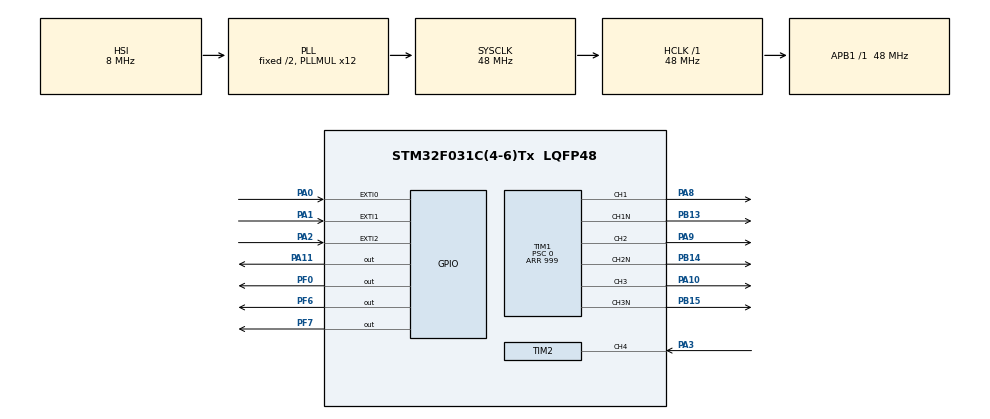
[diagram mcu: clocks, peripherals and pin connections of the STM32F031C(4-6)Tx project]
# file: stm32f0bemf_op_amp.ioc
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ADC.DMAContinuousRequests=ENABLE
ADC.DiscontinuousConvMode=ENABLE
ADC.EOCSelection=ADC_EOC_SEQ_CONV
ADC.ExternalTrigConv=ADC_EXTERNALTRIGCONV_T1_CC4
ADC.SamplingTime=ADC_SAMPLETIME_239CYCLES_5
Dma.ADC.0.Direction=DMA_PERIPH_TO_MEMORY
Dma.ADC.0.Instance=DMA1_Channel1
Dma.ADC.0.MemDataAlignment=DMA_MDATAALIGN_HALFWORD
Dma.ADC.0.MemInc=DMA_MINC_ENABLE
Dma.ADC.0.Mode=DMA_CIRCULAR
Dma.ADC.0.PeriphDataAlignment=DMA_PDATAALIGN_HALFWORD
Dma.ADC.0.PeriphInc=DMA_PINC_DISABLE
Dma.ADC.0.Priority=DMA_PRIORITY_LOW
Dma.Request0=ADC
Dma.Request1=TIM2_CH4
Dma.TIM2_CH4.1.Direction=DMA_PERIPH_TO_MEMORY
Dma.TIM2_CH4.1.Instance=DMA1_Channel4
Dma.TIM2_CH4.1.MemDataAlignment=DMA_MDATAALIGN_WORD
Dma.TIM2_CH4.1.MemInc=DMA_MINC_ENABLE
Dma.TIM2_CH4.1.Mode=DMA_NORMAL
Dma.TIM2_CH4.1.PeriphDataAlignment=DMA_PDATAALIGN_HALFWORD
Dma.TIM2_CH4.1.PeriphInc=DMA_PINC_DISABLE
Dma.TIM2_CH4.1.Priority=DMA_PRIORITY_MEDIUM
IWDG.Reload=4095
IWDG.Window=4095
Mcu.Family=STM32F0
Mcu.Name=STM32F031C(4-6)Tx
Mcu.Package=LQFP48
NVIC.DMA1_Channel1_IRQn=true\:1\:0\:true\:false\:true\:false
NVIC.DMA1_Channel4_5_IRQn=true\:1\:0\:true\:false\:true\:false
NVIC.EXTI0_1_IRQn=true\:0\:0\:false\:false\:true\:true
NVIC.EXTI2_3_IRQn=true\:0\:0\:false\:false\:true\:true
NVIC.TIM14_IRQn=true\:1\:0\:true\:false\:true\:true
NVIC.TIM2_IRQn=true\:1\:0\:true\:false\:true\:true
PA0.GPIO_ModeDefaultEXTI=GPIO_MODE_IT_RISING_FALLING
PA0.Signal=GPXTI0
PA1.GPIO_ModeDefaultEXTI=GPIO_MODE_IT_RISING_FALLING
PA1.Signal=GPXTI1
PA10.Signal=S_TIM1_CH3
PA11.Signal=GPIO_Output
PA13.Mode=Serial_Wire
PA13.Signal=SYS_SWDIO
PA14.Mode=Serial_Wire
PA14.Signal=SYS_SWCLK
PA2.GPIO_ModeDefaultEXTI=GPIO_MODE_IT_RISING_FALLING
PA2.Signal=GPXTI2
PA3.Signal=S_TIM2_CH4
PA8.Signal=S_TIM1_CH1
PA9.GPIO_FMA9=__NULL
PA9.Signal=S_TIM1_CH2
PB13.Mode=PWM Generation1 CH1 CH1N
PB13.Signal=TIM1_CH1N
PB14.Mode=PWM Generation2 CH2 CH2N
PB14.Signal=TIM1_CH2N
PB15.Mode=PWM Generation3 CH3 CH3N
PB15.Signal=TIM1_CH3N
PF0-OSC_IN.Signal=GPIO_Output
PF6.Signal=GPIO_Output
PF7.Signal=GPIO_Output
ProjectManager.HeapSize=0x200
ProjectManager.StackSize=0x400
ProjectManager.TargetToolchain=TrueSTUDIO
RCC.AHBFreq_Value=48000000
RCC.APB1Freq_Value=48000000
RCC.APB1TimFreq_Value=48000000
RCC.HCLKFreq_Value=48000000
RCC.PLLMUL=RCC_PLL_MUL12
RCC.SYSCLKFreq_VALUE=48000000
RCC.SYSCLKSource=RCC_SYSCLKSOURCE_PLLCLK
SH.S_TIM1_CH1.0=TIM1_CH1,PWM Generation1 CH1 CH1N
SH.S_TIM1_CH2.0=TIM1_CH2,PWM Generation2 CH2 CH2N
SH.S_TIM1_CH3.0=TIM1_CH3,PWM Generation3 CH3 CH3N
SH.S_TIM2_CH4.0=TIM2_CH4,Input_Capture4_from_TI4
TIM1.AutomaticOutput=TIM_AUTOMATICOUTPUT_DISABLE
TIM1.Channel-PWM\ Generation1\ CH1\ CH1N=TIM_CHANNEL_1
TIM1.Channel-PWM\ Generation2\ CH2\ CH2N=TIM_CHANNEL_2
TIM1.Channel-PWM\ Generation3\ CH3\ CH3N=TIM_CHANNEL_3
TIM1.Channel-PWM\ Generation4\ No\ Output=TIM_CHANNEL_4
TIM1.CounterMode=TIM_COUNTERMODE_UP
TIM1.DeadTime=40
TIM1.OCPolarity_1=TIM_OCPOLARITY_HIGH
TIM1.Period=999
TIM1.Prescaler=0
TIM14.Period=50000
TIM14.Prescaler=1
TIM2.Channel-Input_Capture4_from_TI4=TIM_CHANNEL_4
TIM2.ICPolarity_CH4=TIM_INPUTCHANNELPOLARITY_BOTHEDGE
TIM2.Period=65535
TIM2.Prescaler=0
TIM2.TIM_MasterOutputTrigger=TIM_TRGO_RESET
TIM2.TIM_MasterSlaveMode=TIM_MASTERSLAVEMODE_DISABLE
TIM3.Period=65535
TIM3.Prescaler=10
VP_ADC_TempSens_Input.Mode=IN-TempSens
VP_IWDG_VS_IWDG.Mode=IWDG_Activate
VP_TIM14_VS_ClockSourceINT.Mode=Enable_Timer
VP_TIM1_VS_ClockSourceINT.Mode=Internal
VP_TIM1_VS_no_output4.Mode=PWM Generation4 No Output
VP_TIM2_VS_ClockSourceINT.Mode=Internal
VP_TIM3_VS_ClockSourceINT.Mode=Internal
board=stm32f0bemf_op_amp

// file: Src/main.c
/**
  ******************************************************************************
  * File Name          : main.c
  * Description        : Main program body
  ******************************************************************************
  ** This notice applies to any and all portions of this file
  * that are not between comment pairs USER CODE BEGIN and
  * USER CODE END. Other portions of this file, whether
  * inserted by the user or by software development tools
  * are owned by their respective copyright owners.
  *
  * COPYRIGHT(c) 2019 STMicroelectronics
  *
  * Redistribution and use in source and binary forms, with or without modification,
  * are permitted provided that the following conditions are met:
  *   1. Redistributions of source code must retain the above copyright notice,
  *      this list of conditions and the following disclaimer.
  *   2. Redistributions in binary form must reproduce the above copyright notice,
  *      this list of conditions and the following disclaimer in the documentation
  *      and/or other materials provided with the distribution.
  *   3. Neither the name of STMicroelectronics nor the names of its contributors
  *      may be used to endorse or promote products derived from this software
  *      without specific prior written permission.
  *
  * THIS SOFTWARE IS PROVIDED BY THE COPYRIGHT HOLDERS AND CONTRIBUTORS "AS IS"
  * AND ANY EXPRESS OR IMPLIED WARRANTIES, INCLUDING, BUT NOT LIMITED TO, THE
  * IMPLIED WARRANTIES OF MERCHANTABILITY AND FITNESS FOR A PARTICULAR PURPOSE ARE
  * DISCLAIMED. IN NO EVENT SHALL THE COPYRIGHT HOLDER OR CONTRIBUTORS BE LIABLE
  * FOR ANY DIRECT, INDIRECT, INCIDENTAL, SPECIAL, EXEMPLARY, OR CONSEQUENTIAL
  * DAMAGES (INCLUDING, BUT NOT LIMITED TO, PROCUREMENT OF SUBSTITUTE GOODS OR
  * SERVICES; LOSS OF USE, DATA, OR PROFITS; OR BUSINESS INTERRUPTION) HOWEVER
  * CAUSED AND ON ANY THEORY OF LIABILITY, WHETHER IN CONTRACT, STRICT LIABILITY,
  * OR TORT (INCLUDING NEGLIGENCE OR OTHERWISE) ARISING IN ANY WAY OUT OF THE USE
  * OF THIS SOFTWARE, EVEN IF ADVISED OF THE POSSIBILITY OF SUCH DAMAGE.
  *
  ******************************************************************************
  */

#include "main.h"
#include "stm32f0xx_hal.h"

/* USER CODE BEGIN Includes */
#include "tune.h"

/* USER CODE END Includes */

ADC_HandleTypeDef hadc;
DMA_HandleTypeDef hdma_adc;

IWDG_HandleTypeDef hiwdg;

TIM_HandleTypeDef htim1;
TIM_HandleTypeDef htim2;
TIM_HandleTypeDef htim3;
TIM_HandleTypeDef htim14;
DMA_HandleTypeDef hdma_tim2_ch4;

/* USER CODE BEGIN PV */
char bi_direction = 0;
char coasting = 0;

int stop_time = 0;

int current_state= 0;
uint16_t Current_GPIO_Pin;

int filter_level_up = 4;
int filter_level_down = 4;

#define TEMP30_CAL_VALUE            ((uint16_t*)((uint32_t)0x1FFFF7B8))
#define TEMP110_CAL_VALUE           ((uint16_t*)((uint32_t)0x1FFFF7C2))

int temp110cal;
int temp30cal;
int smoothedinput = 0;

const int numReadings = 100;     // the readings from the analog input
int readIndex = 0;              // the index of the current reading
int total = 0;
int readings[100];
int tempraw = 0;
int temp_degrees = 0;

int max_change;
int offset;

int ticks = 0;
int filter_level = 5;
int toggled = 0;
int running = 0;
int advance = 0;
int advancedivisor = 3;
int blanktime;
int START_ARR=800;
int rising = 1;
int count = 0;
				      // start middle phase 5
const int pwmSin[] = {128, 132, 136, 140, 143, 147, 151, 155, 159, 162, 166, 170, 174, 178, 181, 185, 189, 192, 196, 200, 203, 207, 211, 214, 218, 221, 225, 228, 232, 235, 238, 239, 240, 241, 242, 243, 244, 245, 246, 247, 248, 248, 249, 250, 250, 251, 252, 252, 253, 253, 253, 254, 254, 254, 255, 255, 255, 255, 255, 255, 255, 255, 255, 255, 255, 255, 255, 254, 254, 254, 253, 253, 253, 252, 252, 251, 250, 250, 249, 248, 248, 247, 246, 245, 244, 243, 242, 241, 240, 239, 238, 239, 240, 241, 242, 243, 244, 245, 246, 247, 248, 248, 249, 250, 250, 251, 252, 252, 253, 253, 253, 254, 254, 254, 255, 255, 255, 255, 255, 255, 255, 255, 255, 255, 255, 255, 255, 254, 254, 254, 253, 253, 253, 252, 252, 251, 250, 250, 249, 248, 248, 247, 246, 245, 244, 243, 242, 241, 240, 239, 238, 235, 232, 228, 225, 221, 218, 214, 211, 207, 203, 200, 196, 192, 189, 185, 181, 178, 174, 170, 166, 162, 159, 155, 151, 147, 143, 140, 136, 132, 128, 124, 120, 116, 113, 109, 105, 101, 97, 94, 90, 86, 82, 78, 75, 71, 67, 64, 60, 56, 53, 49, 45, 42, 38, 35, 31, 28, 24, 21, 18, 17, 16, 15, 14, 13, 12, 11, 10, 9, 8, 8, 7, 6, 6, 5, 4, 4, 3, 3, 3, 2, 2, 2, 1, 1, 1, 1, 1, 1, 1, 1, 1, 1, 1, 1, 1, 2, 2, 2, 3, 3, 3, 4, 4, 5, 6, 6, 7, 8, 8, 9, 10, 11, 12, 13, 14, 15, 16, 17, 18, 17, 16, 15, 14, 13, 12, 11, 10, 9, 8, 8, 7, 6, 6, 5, 4, 4, 3, 3, 3, 2, 2, 2, 1, 1, 1, 1, 1, 1, 1, 1, 1, 1, 1, 1, 1, 2, 2, 2, 3, 3, 3, 4, 4, 5, 6, 6, 7, 8, 8, 9, 10, 11, 12, 13, 14, 15, 16, 17, 18, 21, 24, 28, 31, 35, 38, 42, 45, 49, 53, 56, 60, 64, 67, 71, 75, 78, 82, 86, 90, 94, 97, 101, 105, 109, 113, 116, 120, 124};
int sin_divider = 2;
int phase_A_position;
int phase_B_position;
int phase_C_position;
int step_delay  = 100;
char stepper_sine = 0;
int forward = 1;
int gate_drive_offset = 20;

int stuckcounter = 0;
int duty_cycle_limit;

int looptime;
int k_erpm;

char reversed_direction = 0;

int threshold_up = 20;
int threshold_down = 20;

int ADCtimer= 30;
int demagtime = 50;

int whatstepisthis = 0 ;       // for debugging
int myneutral = 1300; // for debugging
int myneutralup = 1500;

int input_buffer_size = 64;
int smallestnumber = 20000;
uint32_t dma_buffer[64];
int propulse[4] = {0,0,0,0};
int dpulse[16] =  {0,0,0,0,0,0,0,0,0,0,0,0,0,0,0,0};

int calcCRC;
int checkCRC;
int dshotcommand;

char armed = 0;
int zero_input_count = 0;

int input = 0;
int newinput =0;
char inputSet = 0;
char dshot = 0;
char proshot = 0;
char multishot = 0;
char oneshot42 = 0;
char oneshot125 = 0;
char servoPwm = 0;
int zero_crosses;

int integral = 0;
int threshold = 850;
int zcfound = 0;
int difference;
int bemfcounter;
int min_bemf_counts_up = 10;
int min_bemf_counts_down = 10;
int zcs = 0;

int adc_timer = 600;
int ROC = 1;

int lastzctime;
uint16_t thiszctime;
int upthiszctime;
int uplastzctime;
int wait_time;

int min_startup_duty = 100;

int phase = 1;

int tim2_start_arr= 616;

uint32_t last_adc_channel;

int duty_cycle= 33;   // USE EXTREME CAUTION WHEN TESTING
uint32_t ADC1ConvertedValues[1] = {0};
int bemf_rising = 1;

int step = 1;
int pot = 1000;

uint16_t commutation_interval = 30000;
int pwm = 1;
int floating =2;
int lowside = 3;
int zero_cross_offset_up= 1;  //  up and down offset adc read
int zero_cross_offset_down= 30;
int sensorless = 1;
int waitTime = 0;
int threshhold = 5;

int signaltimeout = 0;

uint8_t ubAnalogWatchdogStatus = RESET;

int bemf = 0;
int bemfb = 0;
int bemfc = 0;
int neutral = 0;
/* USER CODE END PV */

void SystemClock_Config(void);
static void MX_GPIO_Init(void);
static void MX_DMA_Init(void);
static void MX_TIM1_Init(void);
static void MX_TIM2_Init(void);
static void MX_TIM3_Init(void);
static void MX_IWDG_Init(void);
static void MX_TIM14_Init(void);
static void MX_ADC_Init(void);

void HAL_TIM_MspPostInit(TIM_HandleTypeDef *htim);

/* USER CODE BEGIN PFP */
/* Private function prototypes -----------------------------------------------*/
long map(long x, long in_min, long in_max, long out_min, long out_max)
{
	if (x < in_min){
		x = in_min;
	}
	if (x > in_max){
		x = in_max;
	}
	return (x - in_min) * (out_max - out_min) / (in_max - in_min) + out_min;

}

void getSmoothedInput() {

		total = total - readings[readIndex];
		// read from the sensor:
		readings[readIndex] = tempraw;
		// add the reading to the total:
		total = total + readings[readIndex];
		// advance to the next position in the array:
		readIndex = readIndex + 1;

		// if we're at the end of the array...
		if (readIndex >= numReadings) {
			// ...wrap around to the beginning:
			readIndex = 0;
		}

		// calculate the average:
		smoothedinput = total / numReadings;

}

void getADCs(){

	tempraw = ADC1ConvertedValues[0];
	getSmoothedInput();

}

void HAL_ADC_ConvCpltCallback(ADC_HandleTypeDef* hadc)
{
	getADCs();
}
void phaseAPWM(){
	LL_GPIO_SetPinMode(GPIOB, GPIO_PIN_13, LL_GPIO_MODE_ALTERNATE);
	LL_GPIO_SetPinMode(GPIOA, GPIO_PIN_8, LL_GPIO_MODE_ALTERNATE);
}
void phaseALOW(){
	LL_GPIO_SetPinMode(GPIOB, GPIO_PIN_13, LL_GPIO_MODE_OUTPUT); GPIOB->BSRR = GPIO_PIN_13;
	LL_GPIO_SetPinMode(GPIOA, GPIO_PIN_8, LL_GPIO_MODE_OUTPUT); GPIOA->BRR = GPIO_PIN_8;
}
void phaseAFLOAT(){
	LL_GPIO_SetPinMode(GPIOB, GPIO_PIN_13, LL_GPIO_MODE_OUTPUT); GPIOB->BRR = GPIO_PIN_13;
	LL_GPIO_SetPinMode(GPIOA, GPIO_PIN_8, LL_GPIO_MODE_OUTPUT); GPIOA->BRR = GPIO_PIN_8;
}
void phaseBPWM(){
	LL_GPIO_SetPinMode(GPIOB, GPIO_PIN_14, LL_GPIO_MODE_ALTERNATE); // low
		LL_GPIO_SetPinMode(GPIOA, GPIO_PIN_9, LL_GPIO_MODE_ALTERNATE);  // high
}
void phaseBLOW(){
	LL_GPIO_SetPinMode(GPIOB, GPIO_PIN_14, LL_GPIO_MODE_OUTPUT); GPIOB->BSRR = GPIO_PIN_14;
		LL_GPIO_SetPinMode(GPIOA, GPIO_PIN_9, LL_GPIO_MODE_OUTPUT); GPIOA->BRR = GPIO_PIN_9;
}
void phaseBFLOAT(){
	LL_GPIO_SetPinMode(GPIOB, GPIO_PIN_14, LL_GPIO_MODE_OUTPUT); GPIOB->BRR = GPIO_PIN_14;
		LL_GPIO_SetPinMode(GPIOA, GPIO_PIN_9, LL_GPIO_MODE_OUTPUT); GPIOA->BRR = GPIO_PIN_9;
}
void phaseCPWM(){
	LL_GPIO_SetPinMode(GPIOB, GPIO_PIN_15, LL_GPIO_MODE_ALTERNATE);
		LL_GPIO_SetPinMode(GPIOA, GPIO_PIN_10, LL_GPIO_MODE_ALTERNATE);
}
void phaseCLOW(){
	LL_GPIO_SetPinMode(GPIOB, GPIO_PIN_15, LL_GPIO_MODE_OUTPUT); GPIOB->BSRR = GPIO_PIN_15;
		LL_GPIO_SetPinMode(GPIOA, GPIO_PIN_10, LL_GPIO_MODE_OUTPUT); GPIOA->BRR = GPIO_PIN_10;
}
void phaseCFLOAT(){
	LL_GPIO_SetPinMode(GPIOB, GPIO_PIN_15, LL_GPIO_MODE_OUTPUT); GPIOB->BRR = GPIO_PIN_15;
		LL_GPIO_SetPinMode(GPIOA, GPIO_PIN_10, LL_GPIO_MODE_OUTPUT); GPIOA->BRR = GPIO_PIN_10;
}
void phaseA(int newPhase){

		if (newPhase==1){
		LL_GPIO_SetPinMode(GPIOB, GPIO_PIN_13, LL_GPIO_MODE_ALTERNATE);
		LL_GPIO_SetPinMode(GPIOA, GPIO_PIN_8, LL_GPIO_MODE_ALTERNATE);
		}

		if (newPhase==2){
		LL_GPIO_SetPinMode(GPIOB, GPIO_PIN_13, LL_GPIO_MODE_OUTPUT); GPIOB->BRR = GPIO_PIN_13;
		LL_GPIO_SetPinMode(GPIOA, GPIO_PIN_8, LL_GPIO_MODE_OUTPUT); GPIOA->BRR = GPIO_PIN_8;
		}

		if (newPhase==3){
		LL_GPIO_SetPinMode(GPIOB, GPIO_PIN_13, LL_GPIO_MODE_OUTPUT); GPIOB->BSRR = GPIO_PIN_13;
		LL_GPIO_SetPinMode(GPIOA, GPIO_PIN_8, LL_GPIO_MODE_OUTPUT); GPIOA->BRR = GPIO_PIN_8;
		}
}

void phaseB(int newPhase){
	if (newPhase==1){
	LL_GPIO_SetPinMode(GPIOB, GPIO_PIN_14, LL_GPIO_MODE_ALTERNATE); // low
	LL_GPIO_SetPinMode(GPIOA, GPIO_PIN_9, LL_GPIO_MODE_ALTERNATE);  // high
	}

	if (newPhase==2){
	LL_GPIO_SetPinMode(GPIOB, GPIO_PIN_14, LL_GPIO_MODE_OUTPUT); GPIOB->BRR = GPIO_PIN_14;
	LL_GPIO_SetPinMode(GPIOA, GPIO_PIN_9, LL_GPIO_MODE_OUTPUT); GPIOA->BRR = GPIO_PIN_9;
	}

	if (newPhase==3){          // low mosfet on
	LL_GPIO_SetPinMode(GPIOB, GPIO_PIN_14, LL_GPIO_MODE_OUTPUT); GPIOB->BSRR = GPIO_PIN_14;
	LL_GPIO_SetPinMode(GPIOA, GPIO_PIN_9, LL_GPIO_MODE_OUTPUT); GPIOA->BRR = GPIO_PIN_9;
	}

}

void phaseC(int newPhase){
	if (newPhase==1){
	LL_GPIO_SetPinMode(GPIOB, GPIO_PIN_15, LL_GPIO_MODE_ALTERNATE);
	LL_GPIO_SetPinMode(GPIOA, GPIO_PIN_10, LL_GPIO_MODE_ALTERNATE);
	}

	if (newPhase==2){
	LL_GPIO_SetPinMode(GPIOB, GPIO_PIN_15, LL_GPIO_MODE_OUTPUT); GPIOB->BRR = GPIO_PIN_15;
	LL_GPIO_SetPinMode(GPIOA, GPIO_PIN_10, LL_GPIO_MODE_OUTPUT); GPIOA->BRR = GPIO_PIN_10;
	}

	if (newPhase==3){
	LL_GPIO_SetPinMode(GPIOB, GPIO_PIN_15, LL_GPIO_MODE_OUTPUT); GPIOB->BSRR = GPIO_PIN_15;
	LL_GPIO_SetPinMode(GPIOA, GPIO_PIN_10, LL_GPIO_MODE_OUTPUT); GPIOA->BRR = GPIO_PIN_10;
	}

}

void allOff(){
	phaseA(floating);
	phaseB(floating);
	phaseC(floating);
}
//void  comStep (int newStep){
////TIM14->CNT = 0;
//
//	if(coasting){
//	allOff();
//	}else{
//
//	if (newStep==1){			//A-B
//		phaseA(pwm);
//		phaseB(lowside);
//		phaseC(floating);
//
//		phase_A_position = 88;
//		phase_B_position = 208;
//		phase_C_position = 328;
//
//		//TIM1->CCR4 = ADCtimer;
//	}
//
//	if (newStep==2){			// C-B
//		phaseA(floating);
//		phaseB(lowside);
//		phaseC(pwm);
//	//	TIM1->CCR4 = ADCtimer;
//	}
//
//
//	if (newStep==3){		// C-A
//		phaseA(lowside);
//		phaseB(floating);
//		phaseC(pwm);
//	//	TIM1->CCR4 = ADCtimer;
//	}
//
//	if (newStep==4){    // B-A
//		phaseA(lowside);
//		phaseB(pwm);
//		phaseC(floating);
//	//	TIM1->CCR4 = ADCtimer;
//	}
//
//	if (newStep==5){          // B-C
//		phaseA(floating);
//		phaseB(pwm);
//		phaseC(lowside);
//	//	TIM1->CCR4 = ADCtimer;
//	}
//
//	if (newStep==6){       // A-C
//		phaseA(pwm);
//		phaseB(floating);
//		phaseC(lowside);
//	//	TIM1->CCR4 = ADCtimer;
//	}
//	}
////stop_time = TIM14->CNT;
//
//}

void  comStep (int newStep){
//TIM14->CNT = 0;
switch(newStep)
{

        case 1:			//A-B
        	phaseAPWM();
        	phaseBLOW();
        	phaseCFLOAT();
        	break;

        case 2:		// C-B
        	phaseAFLOAT();
        	phaseBLOW();
        	phaseCPWM();
        	break;

        case 3:	// C-A
        	phaseALOW();
        	phaseBFLOAT();
        	phaseCPWM();
        	break;

        case 4:// B-A
        	phaseALOW();
        	phaseBPWM();
        	phaseCFLOAT();
        	break;

        case 5:    // B-C
        	phaseAFLOAT();
        	phaseBPWM();
        	phaseCLOW();
        	break;

        case 6:      // A-C
        	phaseAPWM();
        	phaseBFLOAT();
        	phaseCLOW();
        	break;
	}

//stop_time = TIM14->CNT;

}

void fullBrake(){                     // full braking shorting all low sides
	phaseA(lowside);
	phaseB(lowside);
	phaseC(lowside);
}

void allpwm(){                        // for stepper_sine
	phaseA(pwm);
	phaseB(pwm);
	phaseC(pwm);
}

void detectInput(){
	smallestnumber = 20000;
	dshot = 0;
	proshot = 0;
	multishot = 0;
	oneshot42 = 0;
	oneshot125 = 0;
	servoPwm = 0;
	int lastnumber = dma_buffer[0];
	for ( int j = 1 ; j < input_buffer_size; j++){

		if((dma_buffer[j] - lastnumber) < smallestnumber){ // blank space
			smallestnumber = dma_buffer[j] - lastnumber;

		}
		lastnumber = dma_buffer[j];
	}

	if ((smallestnumber > 3)&&(smallestnumber < 22)){
		dshot = 1;
	}
	if ((smallestnumber > 40 )&&(smallestnumber < 80)){
		proshot = 1;
		TIM2->PSC=1;
		TIM2->CNT = 0xffff;
	}
	if ((smallestnumber > 100 )&&(smallestnumber < 400)){
		multishot = 1;
	}
//	if ((smallestnumber > 2000 )&&(smallestnumber < 3000)){
//		oneshot42 = 1;
//	}
////	if ((smallestnumber > 3000 )&&(smallestnumber < 7000)){
////		oneshot125 = 1;
////	}
	if (smallestnumber > 500){
		servoPwm = 1;
		TIM2->PSC = 47;
		TIM2->CNT = 0xffff;
	}

	if (smallestnumber == 0){
		inputSet = 0;
	}else{

		inputSet = 1;

		HAL_Delay(50);
		//	playInputTune();
	}
	HAL_TIM_IC_Start_DMA(&htim2, TIM_CHANNEL_4, dma_buffer , 64);
}

void computeProshotDMA(){
	int lastnumber = dma_buffer[0];
	for ( int j = 1 ; j < 9; j++){

		if(((dma_buffer[j] - lastnumber) > 1500) && ((dma_buffer[j] - lastnumber) < 50000)){ // blank space
			if ((dma_buffer[j+7] - dma_buffer[j])<10000){
				//			for ( int i = 0; i < 8; i+= 2){
				//
				//			propulse[i>>1] =map((dma_buffer[j+i+1] - dma_buffer[j+i]),48, 141, 0, 15);
				//			}

				//		for ( int i = 0; i < 8; i+= 2){
				//			 propulse[i>>1] = ((dma_buffer[j+i+1] - dma_buffer[j+i]) - 46)*11>>6;
				//		}
				for (int i = 0; i < 4; i++){

					propulse[i] = (((dma_buffer[j + i*2 +1] - dma_buffer[j + i*2])) - 23)/3;

				}

				calcCRC = ((propulse[0]^propulse[1]^propulse[2])<<3
						|(propulse[0]^propulse[1]^propulse[2])<<2
						|(propulse[0]^propulse[1]^propulse[2])<<1
						|(propulse[0]^propulse[1]^propulse[2]));
				checkCRC = (propulse[3]<<3 | propulse[3]<<2 | propulse[3]<<1 | propulse[3]);
			}

            if (calcCRC == checkCRC){
			int tocheck = ((propulse[0]<<7 | propulse[1]<<3 | propulse[2]>>1));
			if (tocheck > 2047 || tocheck < 0){
				break;
			}else{
				if(tocheck > 47){
					newinput = tocheck;
					dshotcommand = 0;
				}
				if ((tocheck <= 47)&& (tocheck > 0)){
					newinput = 0;
					dshotcommand = tocheck;    //  todo
				}
				if (tocheck == 0){
					newinput = 0;
					dshotcommand = 0;
				}
			}
            }
			break;
		}
		lastnumber = dma_buffer[j];
	}
}

void computeMSInput(){

	int lastnumber = dma_buffer[0];
	for ( int j = 1 ; j < 2; j++){

		if(((dma_buffer[j] - lastnumber) < 1500) && ((dma_buffer[j] - lastnumber) > 0)){ // blank space

			newinput = map((dma_buffer[j] - lastnumber),243,1200, 0, 2000);
			break;
		}
		lastnumber = dma_buffer[j];
	}
}

void computeOS125Input(){

	int lastnumber = dma_buffer[0];
	for ( int j = 1 ; j < 2; j++){

		if(((dma_buffer[j] - lastnumber) < 12300) && ((dma_buffer[j] - lastnumber) > 0)){ // blank space

			newinput = map((dma_buffer[j] - lastnumber),6500,12000, 0, 2000);
			break;
		}
		lastnumber = dma_buffer[j];
	}
}

void computeOS42Input(){

	int lastnumber = dma_buffer[0];
	for ( int j = 1 ; j < 2; j++){

		if(((dma_buffer[j] - lastnumber) < 4500) && ((dma_buffer[j] - lastnumber) > 0)){ // blank space

			newinput = map((dma_buffer[j] - lastnumber),2020, 4032, 0, 2000);
			break;
		}
		lastnumber = dma_buffer[j];
	}
}

void computeServoInput(){

	int lastnumber = dma_buffer[0];
	for ( int j = 1 ; j < 3; j++){

		if(((dma_buffer[j] - lastnumber) >1000 ) && ((dma_buffer[j] - lastnumber) < 2010)){ // blank space

			newinput = map((dma_buffer[j] - lastnumber), 1090, 2000, 0, 2000);
			break;
		}
		lastnumber = dma_buffer[j];
	}
}

void computeDshotDMA(){

	int lastnumber = dma_buffer[0];
	for ( int j = 1 ; j < input_buffer_size; j++){

		if(((dma_buffer[j] - lastnumber) > 50) && ((dma_buffer[j] - lastnumber) < 65000)){ // blank space

			for (int i = 0; i < 16; i++){
				dpulse[i] = ((dma_buffer[j + i*2 +1] - dma_buffer[j + i*2]) / 13) - 1;
			}

			uint8_t calcCRC = ((dpulse[0]^dpulse[4]^dpulse[8])<<3
					|(dpulse[1]^dpulse[5]^dpulse[9])<<2
					|(dpulse[2]^dpulse[6]^dpulse[10])<<1
					|(dpulse[3]^dpulse[7]^dpulse[11])
			);
			uint8_t checkCRC = (dpulse[12]<<3 | dpulse[13]<<2 | dpulse[14]<<1 | dpulse[15]);
			//

			int tocheck = (
					dpulse[0]<<10 | dpulse[1]<<9 | dpulse[2]<<8 | dpulse[3]<<7
					| dpulse[4]<<6 | dpulse[5]<<5 | dpulse[6]<<4 | dpulse[7]<<3
					| dpulse[8]<<2 | dpulse[9]<<1 | dpulse[10]);

			if(calcCRC == checkCRC){

				if (tocheck > 47){
					newinput = tocheck;
                    dshotcommand = 0;
				}
			}
			if ((tocheck <= 47)&& (tocheck > 0)){
				newinput = 0;
				dshotcommand = tocheck;    //  todo
			}
			if (tocheck == 0){
				newinput = 0;
			//	dshotcommand = 0;
			}

			break;
		}
		lastnumber = dma_buffer[j];
	}
}

void transferComplete(){
	//	TIM15->CNT = 1;
//	compit = 0;
	signaltimeout = 0;
	HAL_GPIO_TogglePin(GPIOC, GPIO_PIN_3);

	if (inputSet == 1){
		if (dshot == 1){
			computeDshotDMA();
			HAL_TIM_IC_Start_DMA(&htim2, TIM_CHANNEL_4, dma_buffer , 64);
		}
		if (proshot == 1){
			computeProshotDMA();
			HAL_TIM_IC_Start_DMA(&htim2, TIM_CHANNEL_4, dma_buffer , 16);
		}

		if  (servoPwm == 1){
			computeServoInput();
			HAL_TIM_IC_Start_DMA(&htim2, TIM_CHANNEL_4, dma_buffer , 3);

		}
		if  (multishot){
			computeMSInput();
			HAL_TIM_IC_Start_DMA(&htim2, TIM_CHANNEL_4, dma_buffer , 3);

		}
		if  (oneshot125){
			computeOS125Input();
			HAL_TIM_IC_Start_DMA(&htim2, TIM_CHANNEL_4, dma_buffer , 3);

		}
		if  (oneshot42){
			computeOS42Input();
			HAL_TIM_IC_Start_DMA(&htim2, TIM_CHANNEL_4, dma_buffer , 3);

		}
		if (!armed){
			if (input < 0){
				  						input = 0;
				  					}
			 		 if (input == 0){                       // note this in input..not newinput so it will be adjusted be main loop
			 		 			zero_input_count++;
			 		 		}else{
			 		 			zero_input_count = 0;
			 		 		}

	  }

	}
}

void playStartupTune(){
	TIM1->PSC = 75;
	TIM1->CCR1 = 5;
	TIM1->CCR2 = 5;
	TIM1->CCR3 = 5;
	comStep(2);
	HAL_Delay(100);
	TIM1->PSC = 50;
	HAL_Delay(100);
	TIM1->PSC = 25;
	HAL_Delay(100);
	allOff();
	TIM1->PSC = 0;
}

void playInputTune(){
	TIM1->PSC = 100;
	TIM1->CCR1 = 5;
	TIM1->CCR2 = 5;
	TIM1->CCR3 = 5;
	comStep(2);
	HAL_Delay(100);
	TIM1->PSC = 50;
	HAL_Delay(100);
	allOff();
	TIM1->PSC = 0;
}

void getBemfState(){

	if (step == 1 || step == 4){
	   current_state = HAL_GPIO_ReadPin(GPIOA, GPIO_PIN_0);
	}
    if (step == 2 || step == 5){            //        in phase two or 5 read from phase A PA2
    	current_state = HAL_GPIO_ReadPin(GPIOA, GPIO_PIN_2);
	}
    if (step == 3 || step == 6){                         // phase B pa1
    	current_state = HAL_GPIO_ReadPin(GPIOA, GPIO_PIN_1);

	}

    if (rising){
    	if (current_state){
    		bemfcounter++;
    		}else{
    		bemfcounter = 0;

    	}
    }else{
    	if(!current_state){
    		bemfcounter++;
    	}else{
    		bemfcounter = 0;
    	}
    }

}

void maskPhaseInterrupts(){
	EXTI->IMR &= (0 << 1);
	EXTI->IMR &= (0 << 2);
	EXTI->IMR &= (0 << 0);
}

void changeEXTI(){
//	TIM14->CNT = 0;
	if (step == 1 || step == 4){
		EXTI->IMR |= (1 << 0);
		if (rising){
			EXTI->RTSR |= (1 << 0);
			EXTI->FTSR &= (1 << 0);
		}else{
			EXTI->FTSR |= (1 << 0);
			EXTI->RTSR &= (1 << 0);
		}
		Current_GPIO_Pin = GPIO_PIN_0;
		}
	    if (step == 2 || step == 5){            //        in phase two or 5 read from phase A PA2
	    EXTI->IMR |= (1 << 2);
	    if (rising){
	    			EXTI->RTSR |= (1 << 2);
	    			EXTI->FTSR &= (0 << 2);
	    		}else{
	    			EXTI->FTSR |= (1 << 2);
	    			EXTI->RTSR &= (0 << 2);
	    		}
	    Current_GPIO_Pin = GPIO_PIN_2;
		}
	    if (step == 3 || step == 6){                         // phase B pa1
	    EXTI->IMR |= (1 << 1);
	    if (rising){
	    			EXTI->RTSR |= (1 << 1);
	    			EXTI->FTSR &= (0 << 1);
	    		}else{
	    			EXTI->FTSR |= (1 << 1);
	    			EXTI->RTSR &= (0 << 1);
	    		}
	    Current_GPIO_Pin = GPIO_PIN_1;
		}
//	    stop_time = TIM14->CNT;
}

void calculateOffset(){                      // max offset same as blank time
if (zero_crosses > 100){
	max_change = commutation_interval >> 3;
	if (thiszctime < (commutation_interval - max_change)){
offset = commutation_interval - thiszctime - max_change;
//waitTime = waitTime + offset;
	}
	else if (thiszctime > (commutation_interval + max_change)){
//offset = thiszctime - commutation_interval + max_change;
//waitTime = waitTime - offset;
if (waitTime < 1){
	waitTime = 1;
}
	}else{
		offset = 0;
	}
}
}

void commutate(){
	TIM14->CNT = 0;
	if (forward == 1){
		step++;
		if (step > 6) {
			step = 1;
		}
		if (step == 1 || step == 3 || step == 5) {
			rising = 1;                                // is back emf rising or falling
		}
		if (step == 2 || step == 4 || step == 6) {
			rising = 0;
		}
	}
	if (forward == 0){
		step--;
		if (step < 1) {
			step = 6;
		}
		if (step == 1 || step == 3 || step == 5) {
			rising = 0;
		}
		if (step == 2 || step == 4 || step == 6) {
			rising = 1;
		}
	}
	comStep(step);
//    changeEXTI();                done at the end of exti routine
	bemfcounter = 0;
	zcfound = 0;
	stop_time = TIM14->CNT;
}

void interruptRoutine(){
	thiszctime = TIM3->CNT;
//	TIM14->CNT = 0;
	if (commutation_interval > 200){
stuckcounter++;
if (stuckcounter > 100){
	maskPhaseInterrupts();
	zero_crosses = 0;
	return;
}

	//		GPIOA->BSRR = GPIO_PIN_15;
			if (rising){

				for (int i = 0; i < filter_level; i++){
				if (HAL_GPIO_ReadPin(GPIOA, Current_GPIO_Pin) == 0){
											return;
				}
				}
			}else{
				for (int i = 0; i < filter_level; i++){
				if (HAL_GPIO_ReadPin(GPIOA, Current_GPIO_Pin) == 1){
							return;
					}
				}
			}
	}
	//		while (TIM3->CNT - thiszctime < filter_delay){
	//
	//		}

			TIM3->CNT = 0;
//			zctimeout = 0;
			maskPhaseInterrupts();
//calculateOffset();

	//		stop_time = TIM14->CNT;
						while (TIM3->CNT  < waitTime){
									}
						      //      TIM1->CNT = duty_cycle;

									commutate();
									while (TIM3->CNT  < waitTime + blanktime){
									}
//                                 if((thiszctime < (commutation_interval + max_change)) && (thiszctime > (commutation_interval - max_change))){
//                                	 commutation_interval = thiszctime ;
//                                 }else{
							             // TEST!   divide by two when tracking up down time independant

	//										}
									commutation_interval = ((4 *commutation_interval) + thiszctime) / 5;
									                                             advance = commutation_interval / advancedivisor;
																					waitTime = commutation_interval /2  - advance;
																					blanktime = commutation_interval / 8;
												changeEXTI();
												zero_crosses++;
									return;

}
void advanceincrement(){
//	  if (stepper_sine){

	phase_A_position ++;
//	if (phase_A_position >= 29 && phase_A_position <= 88){                // this is wrong changr this!!!
//		step = 6;
//	}
//	if (phase_A_position >= 99 && phase_A_position <= 158){
//			step = 1;
//		}
//	if (phase_A_position >= 159 && phase_A_position <= 218){
//			step = 2;
//		}
//	if (phase_A_position >= 219 && phase_A_position <= 278){
//				step = 3;
//			}
//	 if (phase_A_position >= 279 && phase_A_position <= 328){
//			step = 4;
//		}
//	if (phase_A_position >= 329 || phase_A_position <= 28){
//			step = 5;
//		}

	     if (phase_A_position > 359){
		   phase_A_position = 0 ;
	     }

		    phase_B_position ++;
		     if (phase_B_position > 359){
			phase_B_position = 0 ;
		}
		    phase_C_position ++;
		     if (phase_C_position > 359){
			phase_C_position = 0 ;
		}

		    TIM1->CCR1 = (pwmSin[phase_A_position]/sin_divider)+gate_drive_offset;												// set duty cycle to 50 out of 768 to start.
		    TIM1->CCR2 = (pwmSin[phase_B_position]/sin_divider)+gate_drive_offset;
		    TIM1->CCR3 = (pwmSin[phase_C_position]/sin_divider)+gate_drive_offset;

	//	  }
//		  else{
		//	 TIM1->CCR1 = 0;												// set duty cycle to 50 out of 768 to start.
	//		 TIM1->CCR2 = 0;
	//		 TIM1->CCR3 = 0;
	//	  }
}

void HAL_TIM_PeriodElapsedCallback(TIM_HandleTypeDef *htim){

//			if (htim->Instance==TIM14)
//
//
//			{
//				if (stepper_sine){
//
//			    TIM14->ARR = step_delay;
//			//	GPIOF->BSRR = GPIO_PIN_0;
//				advanceincrement();
//				}
//			}else{

//			}

}

int getAbsDif(int number1, int number2){
	int result = number1 - number2;
	if (result < 0) {
	    result = -result;
	}
	return result;
}

//void startMotor(){
//
//	        TIM1->CCR1 = 55;												// set duty cycle to 50 out of 499 to start.
//		    TIM1->CCR2 = 55;
//		    TIM1->CCR3 = 55;
//
//
////	GPIOF->BSRR = GPIO_PIN_6;            // uncomment to take bridge out of standby mode
////	GPIOF->BSRR = GPIO_PIN_7;
//	for (int i = 10; i > 0; i--){
//
////		TIM2->ARR = i;
////		TIM2->CNT = 0;
//
//		step++;
//		if (step > 6) {
//		step=1;
//		}
//		comStep(step);
//		HAL_Delay(i);
//
//
//	}
//	zcfound =1; //supress bemf detection for speedup
//	running = 1;
//
//
//
//	TIM2->ARR = START_ARR;
//	TIM2->CNT = 0;
//	HAL_Delay(10);
//
//
//
//	//					sensorless = 1;
//}
void startMotor() {

 //startcount++;

  //  char decaystate = slow_decay;
  //  sensorless = 0;
	if (running == 0){
	//	HAL_COMP_Stop_IT(&hcomp1);
	//	slow_decay = 1;

	commutate();
	commutation_interval = 20000;
	TIM3->CNT = 10000;
//	TIM2->CNT = 0;
//	TIM2->ARR = commutation_interval * 2;
	running = 1;
//	if (HAL_COMP_Start_IT(&hcomp1) != HAL_OK) {
//			/* Initialization Error */
//			Error_Handler();
//		}
	}
	changeEXTI();
//	slow_decay = decaystate;    // return to normal
	sensorless = 1;
//	startupcountdown =0;
//	bemf_counts = 0;

}

void zcfoundroutine(){
	thiszctime = TIM3->CNT;
	TIM3->CNT = 0;
	commutation_interval = (thiszctime + (3*commutation_interval)) / 4;
	waitTime = commutation_interval / 2;
	blanktime = commutation_interval / 4;
	while (TIM3->CNT - thiszctime < waitTime - advance){

	}
	commutate();
	while (TIM3->CNT - thiszctime < waitTime + blanktime){

	}
	//changeEXTI();
    bemfcounter = 0;

    zero_crosses++;
    if (zero_crosses == 50) {
    	changeEXTI();
    }

}

//
//void HAL_ADC_ConvCpltCallback(ADC_HandleTypeDef* hadc)
//{
//
//
//}

/* USER CODE END PFP */

int main(void)
{

  /* MCU Configuration----------------------------------------------------------*/

  /* Reset of all peripherals, Initializes the Flash interface and the Systick. */
  HAL_Init();

  /* Configure the system clock */
  SystemClock_Config();

  /* Initialize all configured peripherals */
  MX_GPIO_Init();
  MX_DMA_Init();
  MX_TIM1_Init();
  MX_TIM2_Init();
  MX_TIM3_Init();
  MX_IWDG_Init();
  MX_TIM14_Init();
  MX_ADC_Init();

  /* USER CODE BEGIN 2 */
  HAL_TIM_PWM_Start(&htim1, TIM_CHANNEL_1);
  HAL_TIMEx_PWMN_Start(&htim1, TIM_CHANNEL_1);             // uncomment for comp_pwm
  HAL_TIM_PWM_Start(&htim1, TIM_CHANNEL_2);
  HAL_TIMEx_PWMN_Start(&htim1, TIM_CHANNEL_2);
  HAL_TIM_PWM_Start(&htim1, TIM_CHANNEL_3);
  HAL_TIMEx_PWMN_Start(&htim1, TIM_CHANNEL_3);
  HAL_Delay(10);

	if (HAL_TIM_OC_Start_IT(&htim1, TIM_CHANNEL_4) != HAL_OK)
	{
		_Error_Handler(__FILE__, __LINE__);
	}
	if (HAL_ADC_Start_DMA(&hadc, (uint32_t*)ADC1ConvertedValues, 1) != HAL_OK){
		Error_Handler();

	}

	  temp110cal = *TEMP110_CAL_VALUE;
	  temp30cal = *TEMP30_CAL_VALUE;
//  if (HAL_ADC_Start_DMA(&hadc, (uint32_t*)ADC1ConvertedValues, 2) != HAL_OK)
//   return 0;

  HAL_TIM_IC_Start_DMA(&htim2, TIM_CHANNEL_4, dma_buffer , 64);

  TIM1->CCR4 = 800;

  LL_GPIO_SetPinMode(GPIOF, GPIO_PIN_0, LL_GPIO_MODE_OUTPUT);

  //TIM1->CCR4 = 350;                // adc read timer.

  HAL_TIM_Base_Start(&htim14);
  HAL_TIM_Base_Start(&htim3);
 // HAL_TIM_Base_Start_IT(&htim14);
  /* USER CODE END 2 */

  /* Infinite loop */
  /* USER CODE BEGIN WHILE */
  maskPhaseInterrupts();
  GPIOF->BSRR = GPIO_PIN_6;            // uncomment to take bridge out of standby mode and set oc level
  GPIOF->BRR = GPIO_PIN_7;				// out of standby mode

  GPIOA->BSRR = GPIO_PIN_11;  // set overcurrent protection on.

  //TIM2->ARR = 1000;
//  last_adc_channel=ADC_CHANNEL_3;
  phase_A_position = 0;
  phase_B_position = 119;
  phase_C_position = 239;
  playStartupTune();
  running = 0;
  duty_cycle = 1;
	if(HAL_IWDG_Init(&hiwdg) != HAL_OK)
	{
		/* Initialization Error */
		Error_Handler();
	}
	allpwm();
	filter_level=5;
  /* USER CODE END 2 */

  /* Infinite loop */
  /* USER CODE BEGIN WHILE */
  while (1)
  {
//	  looptime = TIM14->CNT;
//	  TIM14->CNT = 0;
	  count++;
	  stuckcounter = 0;
	  if (count  > 200){
	 	  if(HAL_IWDG_Refresh(&hiwdg) != HAL_OK)                   // watchdog refresh
	 	  			{
	 	  				/* Refresh Error */
	 	  				Error_Handler();
	 	  			}
	 	  count = 0;
	  }

	  if (inputSet == 0){
	 	 detectInput();
	  }
		  if (zero_input_count > 1000 && !armed){
			  armed = 1;
			  playInputTune();
		  }

		  if (bi_direction == 1 && proshot == 0){

			if ( newinput > 1100 ){
				if(reversed_direction){
				if (forward == 1){
					forward = 0 ;
				}
				}else{
				if (forward == 0){
					forward = 1 ;
				}
				}
					input = (newinput - 1050)*3;
			}

			if (newinput < 800) {
				if(reversed_direction){
					if (forward == 0){
					forward = 1;
				}
				}else{

				if (forward == 1){
					forward = 0;
				}
				}
					input = (800 - newinput) * 3;

			}

			if (newinput > 800 && newinput < 1100){
				input = 0;

			}

		}else if((proshot || dshot)&& bi_direction){
	  					if ( newinput > 1100 ){

	  					  if (!forward){
	  						forward = 1 ;
	  					  }
	  						input = (newinput - 1100) * 2 ;

	  					}if ( newinput <= 1047 ){
	  						if(forward){
	  					forward = 0;
	  						}
	  						input = (newinput - 90) * 2 ;
	  					}
	  					if ((newinput > 1047 && newinput < 1100) || newinput < 100){
	  						input = 0;
	  					}

	  				}else{
		 input = newinput;
	 }

	  if (input >= 130 && armed){
		  if (running == 0){
//			 startMotor();
			  running = 1;
		  }
		  coasting = 0;
	 //	 running = 1;

//		  if(commutation_interval < 100){
//			  duty_cycle_limit++;
//		  }else{
//			  duty_cycle_limit--;
//			  if(duty_cycle_limit< 0){
//				  duty_cycle_limit = 0;
//			  }
//		  }

	 	 duty_cycle = input / 2 - 30 - duty_cycle_limit;
	  }

	  if (input < 130){
		  if (running == 1){
		  coasting = 0;
		  }
	 	 running = 0;
	 	 duty_cycle = 0;
	 	 stepper_sine = 0;
	 	zero_crosses = 0;
	 	fullBrake();            // to track zero crosses at 0 throttle comment this out but there is only partial braking
	  }

	 //	 if (duty_cycle < 250){
//	 		 TIM1->CCR4 = 800;
	 //		 }

	 //	 if (duty_cycle > 300){
	 //		 TIM1->CCR4 = duty_cycle- 200;
	 //	 }

   if (zero_crosses < 100 && running){
	   if (duty_cycle < min_startup_duty){
	   duty_cycle = min_startup_duty;

	   }
	   if (duty_cycle > 250){
		   duty_cycle = 250;
	   }
   }

   if(commutation_interval > 20000 && running){
	   duty_cycle = input / 2 - 10 ;
	   if(commutation_interval > 30000){
	  	   duty_cycle = input / 2;
	     }
   }

   if (duty_cycle < 30 && running){
	   duty_cycle = 30;
   }

	 if (duty_cycle > 998){
		 duty_cycle = 998;
	 }

	 temp_degrees = ( ( (110 - 30)*(smoothedinput - temp30cal) ) / (temp110cal - temp30cal)) + 30;
     k_erpm = ((100000000 / (commutation_interval * 208 * 6)) * 6)/10 ;                  // 208 ns per count note: in 1000's of erpm to change to erpm divide multiply by 1000

	if (armed){
	 	 TIM1->CCR1 = duty_cycle;												// set duty cycle to 50 out of 768 to start.
	 	 TIM1->CCR2 = duty_cycle;
	 	 TIM1->CCR3 = duty_cycle;

	  }else{           // not armed

		  TIM1->CCR1 = 0;												// set duty cycle to 50 out of 768 to start.
		  TIM1->CCR2 = 0;
		  TIM1->CCR3 = 0;
	  }

	if (zero_crosses < 100 || commutation_interval > 10000){
		filter_level = 8 ;
		advancedivisor = 4;
	}
//	if (zero_crosses > 100 && commutation_interval < 10000){
//		advancedivisor = 4;
//		filter_level = 2;
//
//	}
	if (zero_crosses > 100 && zero_crosses < 300){
			filter_level = 4;
	//		advancedivisor = 4;
		}
	if(zero_crosses > 300 && duty_cycle > 180){
		filter_level = 0;
		advancedivisor = 3;
	}
if (commutation_interval < 200){
	advancedivisor = 2;
}

	if (duty_cycle < 200){
		filter_level = 8;
	}

	// 	  GPIOF->BRR = GPIO_PIN_0;

	 //	  if ( stepper_sine == 0){

///**************** old routine*********************
if (zero_crosses < 50){
	 		 getBemfState();                                      // uncomment to make run !!!!!!!!!!!!!!!

	 	  if (!zcfound){
	 		  if (rising){
	 		 if (bemfcounter > min_bemf_counts_up){
	 			 GPIOF->BSRR = GPIO_PIN_0;
	 			 zcfound = 1;
	 			 bemfcounter = 0;
	 			 zcfoundroutine();
	 		//	 break;

	 		}
	 		  }else{
	 			  if (bemfcounter > min_bemf_counts_down){
	 			  			 GPIOF->BSRR = GPIO_PIN_0;
	 			  			 zcfound = 1;
	 			  			 bemfcounter = 0;
	 			  			 zcfoundroutine();
	 			  //			 break;

	 			  		}
	 		  }
	 	  }
//	 	  */
}

	 	  if (TIM3->CNT > 50000 && running == 1){
	 		//  TIM3->CNT = commutation_interval / 2;
	 		 running = 0;
	 		  zero_crosses = 0;
	 		//  zcs = 0;
	 		  if (zero_crosses < 50){
	 		  zcfoundroutine();
	 		  }
	 	  }

	 	//  }

  /* USER CODE END WHILE */

  }

}

/** System Clock Configuration
*/
void SystemClock_Config(void)
{

  RCC_OscInitTypeDef RCC_OscInitStruct;
  RCC_ClkInitTypeDef RCC_ClkInitStruct;

    /**Initializes the CPU, AHB and APB busses clocks
    */
  RCC_OscInitStruct.OscillatorType = RCC_OSCILLATORTYPE_HSI|RCC_OSCILLATORTYPE_HSI14
                              |RCC_OSCILLATORTYPE_LSI;
  RCC_OscInitStruct.HSIState = RCC_HSI_ON;
  RCC_OscInitStruct.HSI14State = RCC_HSI14_ON;
  RCC_OscInitStruct.HSICalibrationValue = 16;
  RCC_OscInitStruct.HSI14CalibrationValue = 16;
  RCC_OscInitStruct.LSIState = RCC_LSI_ON;
  RCC_OscInitStruct.PLL.PLLState = RCC_PLL_ON;
  RCC_OscInitStruct.PLL.PLLSource = RCC_PLLSOURCE_HSI;
  RCC_OscInitStruct.PLL.PLLMUL = RCC_PLL_MUL12;
  RCC_OscInitStruct.PLL.PREDIV = RCC_PREDIV_DIV1;
  if (HAL_RCC_OscConfig(&RCC_OscInitStruct) != HAL_OK)
  {
    _Error_Handler(__FILE__, __LINE__);
  }

    /**Initializes the CPU, AHB and APB busses clocks
    */
  RCC_ClkInitStruct.ClockType = RCC_CLOCKTYPE_HCLK|RCC_CLOCKTYPE_SYSCLK
                              |RCC_CLOCKTYPE_PCLK1;
  RCC_ClkInitStruct.SYSCLKSource = RCC_SYSCLKSOURCE_PLLCLK;
  RCC_ClkInitStruct.AHBCLKDivider = RCC_SYSCLK_DIV1;
  RCC_ClkInitStruct.APB1CLKDivider = RCC_HCLK_DIV1;

  if (HAL_RCC_ClockConfig(&RCC_ClkInitStruct, FLASH_LATENCY_1) != HAL_OK)
  {
    _Error_Handler(__FILE__, __LINE__);
  }

    /**Configure the Systick interrupt time
    */
  HAL_SYSTICK_Config(HAL_RCC_GetHCLKFreq()/1000);

    /**Configure the Systick
    */
  HAL_SYSTICK_CLKSourceConfig(SYSTICK_CLKSOURCE_HCLK);

  /* SysTick_IRQn interrupt configuration */
  HAL_NVIC_SetPriority(SysTick_IRQn, 0, 0);
}

/* ADC init function */
static void MX_ADC_Init(void)
{

  ADC_ChannelConfTypeDef sConfig;

    /**Configure the global features of the ADC (Clock, Resolution, Data Alignment and number of conversion)
    */
  hadc.Instance = ADC1;
  hadc.Init.ClockPrescaler = ADC_CLOCK_ASYNC_DIV1;
  hadc.Init.Resolution = ADC_RESOLUTION_12B;
  hadc.Init.DataAlign = ADC_DATAALIGN_RIGHT;
  hadc.Init.ScanConvMode = ADC_SCAN_DIRECTION_FORWARD;
  hadc.Init.EOCSelection = ADC_EOC_SEQ_CONV;
  hadc.Init.LowPowerAutoWait = DISABLE;
  hadc.Init.LowPowerAutoPowerOff = DISABLE;
  hadc.Init.ContinuousConvMode = DISABLE;
  hadc.Init.DiscontinuousConvMode = ENABLE;
  hadc.Init.ExternalTrigConv = ADC_EXTERNALTRIGCONV_T1_CC4;
  hadc.Init.ExternalTrigConvEdge = ADC_EXTERNALTRIGCONVEDGE_RISING;
  hadc.Init.DMAContinuousRequests = ENABLE;
  hadc.Init.Overrun = ADC_OVR_DATA_PRESERVED;
  if (HAL_ADC_Init(&hadc) != HAL_OK)
  {
    _Error_Handler(__FILE__, __LINE__);
  }

    /**Configure for the selected ADC regular channel to be converted.
    */
  sConfig.Channel = ADC_CHANNEL_TEMPSENSOR;
  sConfig.Rank = ADC_RANK_CHANNEL_NUMBER;
  sConfig.SamplingTime = ADC_SAMPLETIME_239CYCLES_5;
  if (HAL_ADC_ConfigChannel(&hadc, &sConfig) != HAL_OK)
  {
    _Error_Handler(__FILE__, __LINE__);
  }

}

/* IWDG init function */
static void MX_IWDG_Init(void)
{

	hiwdg.Instance = IWDG;
	hiwdg.Init.Prescaler = IWDG_PRESCALER_16;
	hiwdg.Init.Window = IWDG_WINDOW_DISABLE;
	hiwdg.Init.Reload = 2000;
	if (HAL_IWDG_Init(&hiwdg) != HAL_OK)
	{
		_Error_Handler(__FILE__, __LINE__);
	}

}

/* TIM1 init function */
static void MX_TIM1_Init(void)
{

  TIM_ClockConfigTypeDef sClockSourceConfig;
  TIM_MasterConfigTypeDef sMasterConfig;
  TIM_OC_InitTypeDef sConfigOC;
  TIM_BreakDeadTimeConfigTypeDef sBreakDeadTimeConfig;

  htim1.Instance = TIM1;
  htim1.Init.Prescaler = 0;
  htim1.Init.CounterMode = TIM_COUNTERMODE_UP;
  htim1.Init.Period = 999;
  htim1.Init.ClockDivision = TIM_CLOCKDIVISION_DIV1;
  htim1.Init.RepetitionCounter = 0;
  htim1.Init.AutoReloadPreload = TIM_AUTORELOAD_PRELOAD_DISABLE;
  if (HAL_TIM_Base_Init(&htim1) != HAL_OK)
  {
    _Error_Handler(__FILE__, __LINE__);
  }

  sClockSourceConfig.ClockSource = TIM_CLOCKSOURCE_INTERNAL;
  if (HAL_TIM_ConfigClockSource(&htim1, &sClockSourceConfig) != HAL_OK)
  {
    _Error_Handler(__FILE__, __LINE__);
  }

  if (HAL_TIM_PWM_Init(&htim1) != HAL_OK)
  {
    _Error_Handler(__FILE__, __LINE__);
  }

  sMasterConfig.MasterOutputTrigger = TIM_TRGO_RESET;
  sMasterConfig.MasterSlaveMode = TIM_MASTERSLAVEMODE_DISABLE;
  if (HAL_TIMEx_MasterConfigSynchronization(&htim1, &sMasterConfig) != HAL_OK)
  {
    _Error_Handler(__FILE__, __LINE__);
  }

  sConfigOC.OCMode = TIM_OCMODE_PWM1;
  sConfigOC.Pulse = 0;
  sConfigOC.OCPolarity = TIM_OCPOLARITY_HIGH;
  sConfigOC.OCNPolarity = TIM_OCNPOLARITY_HIGH;
  sConfigOC.OCFastMode = TIM_OCFAST_DISABLE;
  sConfigOC.OCIdleState = TIM_OCIDLESTATE_RESET;
  sConfigOC.OCNIdleState = TIM_OCNIDLESTATE_RESET;
  if (HAL_TIM_PWM_ConfigChannel(&htim1, &sConfigOC, TIM_CHANNEL_1) != HAL_OK)
  {
    _Error_Handler(__FILE__, __LINE__);
  }

  if (HAL_TIM_PWM_ConfigChannel(&htim1, &sConfigOC, TIM_CHANNEL_2) != HAL_OK)
  {
    _Error_Handler(__FILE__, __LINE__);
  }

  if (HAL_TIM_PWM_ConfigChannel(&htim1, &sConfigOC, TIM_CHANNEL_3) != HAL_OK)
  {
    _Error_Handler(__FILE__, __LINE__);
  }

  if (HAL_TIM_PWM_ConfigChannel(&htim1, &sConfigOC, TIM_CHANNEL_4) != HAL_OK)
  {
    _Error_Handler(__FILE__, __LINE__);
  }

  sBreakDeadTimeConfig.OffStateRunMode = TIM_OSSR_DISABLE;
  sBreakDeadTimeConfig.OffStateIDLEMode = TIM_OSSI_DISABLE;
  sBreakDeadTimeConfig.LockLevel = TIM_LOCKLEVEL_OFF;
  sBreakDeadTimeConfig.DeadTime = 40;
  sBreakDeadTimeConfig.BreakState = TIM_BREAK_DISABLE;
  sBreakDeadTimeConfig.BreakPolarity = TIM_BREAKPOLARITY_HIGH;
  sBreakDeadTimeConfig.AutomaticOutput = TIM_AUTOMATICOUTPUT_DISABLE;
  if (HAL_TIMEx_ConfigBreakDeadTime(&htim1, &sBreakDeadTimeConfig) != HAL_OK)
  {
    _Error_Handler(__FILE__, __LINE__);
  }

  HAL_TIM_MspPostInit(&htim1);

}

/* TIM2 init function */
static void MX_TIM2_Init(void)
{

  TIM_ClockConfigTypeDef sClockSourceConfig;
  TIM_MasterConfigTypeDef sMasterConfig;
  TIM_IC_InitTypeDef sConfigIC;

  htim2.Instance = TIM2;
  htim2.Init.Prescaler = 0;
  htim2.Init.CounterMode = TIM_COUNTERMODE_UP;
  htim2.Init.Period = 65535;
  htim2.Init.ClockDivision = TIM_CLOCKDIVISION_DIV1;
  htim2.Init.AutoReloadPreload = TIM_AUTORELOAD_PRELOAD_DISABLE;
  if (HAL_TIM_Base_Init(&htim2) != HAL_OK)
  {
    _Error_Handler(__FILE__, __LINE__);
  }

  sClockSourceConfig.ClockSource = TIM_CLOCKSOURCE_INTERNAL;
  if (HAL_TIM_ConfigClockSource(&htim2, &sClockSourceConfig) != HAL_OK)
  {
    _Error_Handler(__FILE__, __LINE__);
  }

  if (HAL_TIM_IC_Init(&htim2) != HAL_OK)
  {
    _Error_Handler(__FILE__, __LINE__);
  }

  sMasterConfig.MasterOutputTrigger = TIM_TRGO_RESET;
  sMasterConfig.MasterSlaveMode = TIM_MASTERSLAVEMODE_DISABLE;
  if (HAL_TIMEx_MasterConfigSynchronization(&htim2, &sMasterConfig) != HAL_OK)
  {
    _Error_Handler(__FILE__, __LINE__);
  }

  sConfigIC.ICPolarity = TIM_INPUTCHANNELPOLARITY_BOTHEDGE;
  sConfigIC.ICSelection = TIM_ICSELECTION_DIRECTTI;
  sConfigIC.ICPrescaler = TIM_ICPSC_DIV1;
  sConfigIC.ICFilter = 0;
  if (HAL_TIM_IC_ConfigChannel(&htim2, &sConfigIC, TIM_CHANNEL_4) != HAL_OK)
  {
    _Error_Handler(__FILE__, __LINE__);
  }

}

/* TIM3 init function */
static void MX_TIM3_Init(void)
{

  TIM_ClockConfigTypeDef sClockSourceConfig;
  TIM_MasterConfigTypeDef sMasterConfig;

  htim3.Instance = TIM3;
  htim3.Init.Prescaler = 10;
  htim3.Init.CounterMode = TIM_COUNTERMODE_UP;
  htim3.Init.Period = 65535;
  htim3.Init.ClockDivision = TIM_CLOCKDIVISION_DIV1;
  htim3.Init.AutoReloadPreload = TIM_AUTORELOAD_PRELOAD_DISABLE;
  if (HAL_TIM_Base_Init(&htim3) != HAL_OK)
  {
    _Error_Handler(__FILE__, __LINE__);
  }

  sClockSourceConfig.ClockSource = TIM_CLOCKSOURCE_INTERNAL;
  if (HAL_TIM_ConfigClockSource(&htim3, &sClockSourceConfig) != HAL_OK)
  {
    _Error_Handler(__FILE__, __LINE__);
  }

  sMasterConfig.MasterOutputTrigger = TIM_TRGO_RESET;
  sMasterConfig.MasterSlaveMode = TIM_MASTERSLAVEMODE_DISABLE;
  if (HAL_TIMEx_MasterConfigSynchronization(&htim3, &sMasterConfig) != HAL_OK)
  {
    _Error_Handler(__FILE__, __LINE__);
  }

}

/* TIM14 init function */
static void MX_TIM14_Init(void)
{

  htim14.Instance = TIM14;
  htim14.Init.Prescaler = 10;
  htim14.Init.CounterMode = TIM_COUNTERMODE_UP;
  htim14.Init.Period = 50000;
  htim14.Init.ClockDivision = TIM_CLOCKDIVISION_DIV1;
  htim14.Init.AutoReloadPreload = TIM_AUTORELOAD_PRELOAD_DISABLE;
  if (HAL_TIM_Base_Init(&htim14) != HAL_OK)
  {
    _Error_Handler(__FILE__, __LINE__);
  }

}

static void MX_DMA_Init(void)
{
  /* DMA controller clock enable */
  __HAL_RCC_DMA1_CLK_ENABLE();

  /* DMA interrupt init */
  /* DMA1_Channel1_IRQn interrupt configuration */
  HAL_NVIC_SetPriority(DMA1_Channel1_IRQn, 1, 0);
  HAL_NVIC_EnableIRQ(DMA1_Channel1_IRQn);
  /* DMA1_Channel4_5_IRQn interrupt configuration */
  HAL_NVIC_SetPriority(DMA1_Channel4_5_IRQn, 1, 0);
  HAL_NVIC_EnableIRQ(DMA1_Channel4_5_IRQn);

}

/** Configure pins as
        * Analog
        * Input
        * Output
        * EVENT_OUT
        * EXTI
*/
static void MX_GPIO_Init(void)
{

  LL_GPIO_InitTypeDef GPIO_InitStruct;
  LL_EXTI_InitTypeDef EXTI_InitStruct;

  /* GPIO Ports Clock Enable */
  LL_AHB1_GRP1_EnableClock(LL_AHB1_GRP1_PERIPH_GPIOF);
  LL_AHB1_GRP1_EnableClock(LL_AHB1_GRP1_PERIPH_GPIOA);
  LL_AHB1_GRP1_EnableClock(LL_AHB1_GRP1_PERIPH_GPIOB);

  /**/
  LL_GPIO_ResetOutputPin(GPIOF, LL_GPIO_PIN_0);

  /**/
  LL_GPIO_ResetOutputPin(GPIOA, LL_GPIO_PIN_11);

  /**/
  LL_GPIO_ResetOutputPin(GPIOF, LL_GPIO_PIN_6);

  /**/
  LL_GPIO_ResetOutputPin(GPIOF, LL_GPIO_PIN_7);

  /**/
  GPIO_InitStruct.Pin = LL_GPIO_PIN_0;
  GPIO_InitStruct.Mode = LL_GPIO_MODE_OUTPUT;
  GPIO_InitStruct.Speed = LL_GPIO_SPEED_FREQ_LOW;
  GPIO_InitStruct.OutputType = LL_GPIO_OUTPUT_PUSHPULL;
  GPIO_InitStruct.Pull = LL_GPIO_PULL_NO;
  LL_GPIO_Init(GPIOF, &GPIO_InitStruct);

  /**/
  GPIO_InitStruct.Pin = LL_GPIO_PIN_11;
  GPIO_InitStruct.Mode = LL_GPIO_MODE_OUTPUT;
  GPIO_InitStruct.Speed = LL_GPIO_SPEED_FREQ_LOW;
  GPIO_InitStruct.OutputType = LL_GPIO_OUTPUT_PUSHPULL;
  GPIO_InitStruct.Pull = LL_GPIO_PULL_NO;
  LL_GPIO_Init(GPIOA, &GPIO_InitStruct);

  /**/
  GPIO_InitStruct.Pin = LL_GPIO_PIN_6;
  GPIO_InitStruct.Mode = LL_GPIO_MODE_OUTPUT;
  GPIO_InitStruct.Speed = LL_GPIO_SPEED_FREQ_LOW;
  GPIO_InitStruct.OutputType = LL_GPIO_OUTPUT_PUSHPULL;
  GPIO_InitStruct.Pull = LL_GPIO_PULL_NO;
  LL_GPIO_Init(GPIOF, &GPIO_InitStruct);

  /**/
  GPIO_InitStruct.Pin = LL_GPIO_PIN_7;
  GPIO_InitStruct.Mode = LL_GPIO_MODE_OUTPUT;
  GPIO_InitStruct.Speed = LL_GPIO_SPEED_FREQ_LOW;
  GPIO_InitStruct.OutputType = LL_GPIO_OUTPUT_PUSHPULL;
  GPIO_InitStruct.Pull = LL_GPIO_PULL_NO;
  LL_GPIO_Init(GPIOF, &GPIO_InitStruct);

  /**/
  LL_SYSCFG_SetEXTISource(LL_SYSCFG_EXTI_PORTA, LL_SYSCFG_EXTI_LINE0);

  /**/
  LL_SYSCFG_SetEXTISource(LL_SYSCFG_EXTI_PORTA, LL_SYSCFG_EXTI_LINE1);

  /**/
  LL_SYSCFG_SetEXTISource(LL_SYSCFG_EXTI_PORTA, LL_SYSCFG_EXTI_LINE2);

  /**/
  LL_GPIO_SetPinPull(GPIOA, LL_GPIO_PIN_0, LL_GPIO_PULL_NO);

  /**/
  LL_GPIO_SetPinPull(GPIOA, LL_GPIO_PIN_1, LL_GPIO_PULL_NO);

  /**/
  LL_GPIO_SetPinPull(GPIOA, LL_GPIO_PIN_2, LL_GPIO_PULL_NO);

  /**/
  LL_GPIO_SetPinMode(GPIOA, LL_GPIO_PIN_0, LL_GPIO_MODE_INPUT);

  /**/
  LL_GPIO_SetPinMode(GPIOA, LL_GPIO_PIN_1, LL_GPIO_MODE_INPUT);

  /**/
  LL_GPIO_SetPinMode(GPIOA, LL_GPIO_PIN_2, LL_GPIO_MODE_INPUT);

  /**/
  EXTI_InitStruct.Line_0_31 = LL_EXTI_LINE_0;
  EXTI_InitStruct.LineCommand = ENABLE;
  EXTI_InitStruct.Mode = LL_EXTI_MODE_IT;
  EXTI_InitStruct.Trigger = LL_EXTI_TRIGGER_RISING_FALLING;
  LL_EXTI_Init(&EXTI_InitStruct);

  /**/
  EXTI_InitStruct.Line_0_31 = LL_EXTI_LINE_1;
  EXTI_InitStruct.LineCommand = ENABLE;
  EXTI_InitStruct.Mode = LL_EXTI_MODE_IT;
  EXTI_InitStruct.Trigger = LL_EXTI_TRIGGER_RISING_FALLING;
  LL_EXTI_Init(&EXTI_InitStruct);

  /**/
  EXTI_InitStruct.Line_0_31 = LL_EXTI_LINE_2;
  EXTI_InitStruct.LineCommand = ENABLE;
  EXTI_InitStruct.Mode = LL_EXTI_MODE_IT;
  EXTI_InitStruct.Trigger = LL_EXTI_TRIGGER_RISING_FALLING;
  LL_EXTI_Init(&EXTI_InitStruct);

  /* EXTI interrupt init*/
  NVIC_SetPriority(EXTI0_1_IRQn, 0);
  NVIC_EnableIRQ(EXTI0_1_IRQn);
  NVIC_SetPriority(EXTI2_3_IRQn, 0);
  NVIC_EnableIRQ(EXTI2_3_IRQn);

}

void _Error_Handler(char * file, int line)
{
  while(1)
  {
  }
}

/************************ (C) COPYRIGHT STMicroelectronics *****END OF FILE****/
